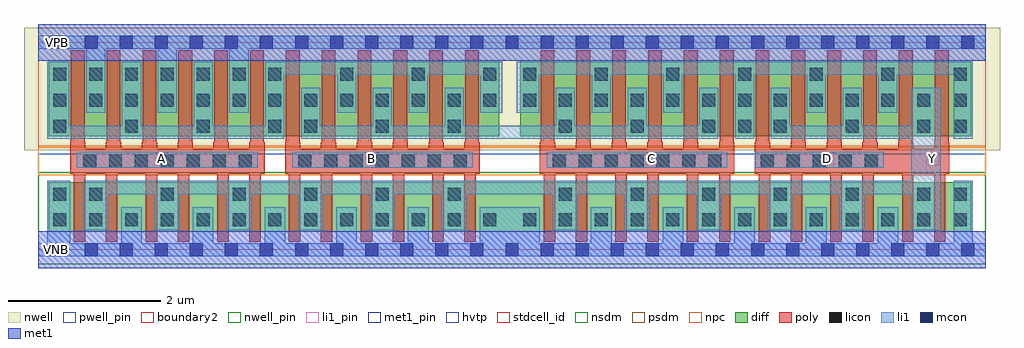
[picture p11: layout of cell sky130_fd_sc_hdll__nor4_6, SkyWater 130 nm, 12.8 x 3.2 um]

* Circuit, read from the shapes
.subckt sky130_fd_sc_hdll__nor4_6 A B C D VGND VNB VPB VPWR Y
XM1 Y A VGND VNB sky130_fd_pr__nfet_01v8 w=0.65 l=0.15 m=6
XM2 Y B VGND VNB sky130_fd_pr__nfet_01v8 w=0.65 l=0.15 m=6
XM3 Y C VGND VNB sky130_fd_pr__nfet_01v8 w=0.65 l=0.15 m=6
XM4 Y D VGND VNB sky130_fd_pr__nfet_01v8 w=0.65 l=0.15 m=6
XM5 VPWR A n1 VPB sky130_fd_pr__pfet_01v8_hvt w=1 l=0.18 m=6
XM6 n2 B n1 VPB sky130_fd_pr__pfet_01v8_hvt w=1 l=0.18 m=6
XM7 n2 C n3 VPB sky130_fd_pr__pfet_01v8_hvt w=1 l=0.18 m=6
XM8 Y D n3 VPB sky130_fd_pr__pfet_01v8_hvt w=1 l=0.18 m=6
.ends

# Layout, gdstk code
import gdstk
lib = gdstk.Library(unit=1e-6, precision=1e-09)
def R(c, l, rs):  # rectangles x0, y0, x1, y1
    for r in rs: c.add(gdstk.rectangle(r[:2], r[2:], *l))
def A(c, l, x, y, w, h, nx, ny, dx, dy):  # array of equal rectangles
    R(c, l, [(x+i*dx, y+j*dy, x+i*dx+w, y+j*dy+h) for i in range(nx) for j in range(ny)])
def P(c, l, *ps):  # polygons
    for p in ps: c.add(gdstk.Polygon(p, *l))
nwell_pin = (64, 16)
nwell = (64, 20)
diff = (65, 20)
poly = (66, 20)
licon = (66, 44)
li1_pin = (67, 16)
li1 = (67, 20)
mcon = (67, 44)
met1_pin = (68, 16)
met1 = (68, 20)
hvtp = (78, 44)
stdcell_id = (81, 4)
nsdm = (93, 44)
psdm = (94, 20)
npc = (95, 20)
pwell_pin = (122, 16)
boundary2 = (236, 0)

sky130_fd_sc_hdll__nor4_ = lib.new_cell('sky130_fd_sc_hdll__nor4_6')
R(sky130_fd_sc_hdll__nor4_, nwell_pin, [(0.15,2.635,0.32,2.805)])
R(sky130_fd_sc_hdll__nor4_, nwell, [(-0.19,1.305,12.61,2.91)])
R(sky130_fd_sc_hdll__nor4_, diff, [(0.135,0.235,12.235,0.885), (0.135,1.485,6.045,2.485), (6.315,1.485,12.235,2.485)])
P(sky130_fd_sc_hdll__nor4_, poly, [(5.785,1.41),(5.775,1.41),(5.775,2.615),(5.595,2.615),(5.595,1.41),(5.585,1.41),(5.585,1.325),(5.315,1.325),(5.315,1.41),(5.305,1.41),(5.305,2.615),(5.125,2.615),(5.125,1.41),(5.115,1.41),(5.115,1.325),(4.845,1.325),(4.845,1.41),(4.835,1.41),(4.835,2.615),(4.655,2.615),(4.655,1.41),(4.645,1.41),(4.645,1.325),(4.375,1.325),(4.375,1.41),(4.365,1.41),(4.365,2.615),(4.185,2.615),(4.185,1.41),(4.175,1.41),(4.175,1.325),(3.905,1.325),(3.905,1.41),(3.895,1.41),(3.895,2.615),(3.715,2.615),(3.715,1.41),(3.705,1.41),(3.705,1.325),(3.435,1.325),(3.435,1.41),(3.425,1.41),(3.425,2.615),(3.245,2.615),(3.245,1.41),(3.235,1.41),(3.235,0.995),(3.285,0.995),(3.285,0.105),(3.435,0.105),(3.435,0.995),(3.705,0.995),(3.705,0.105),(3.855,0.105),(3.855,0.995),(4.225,0.995),(4.225,0.105),(4.375,0.105),(4.375,0.995),(4.645,0.995),(4.645,0.105),(4.795,0.105),(4.795,0.995),(5.165,0.995),(5.165,0.105),(5.315,0.105),(5.315,0.995),(5.585,0.995),(5.585,0.105),(5.735,0.105),(5.735,0.995),(5.785,0.995)],
  [(11.945,1.41),(11.935,1.41),(11.935,2.615),(11.755,2.615),(11.755,1.41),(11.745,1.41),(11.745,1.325),(11.475,1.325),(11.475,1.41),(11.465,1.41),(11.465,2.615),(11.285,2.615),(11.285,1.41),(11.275,1.41),(11.275,1.325),(11.005,1.325),(11.005,1.41),(10.995,1.41),(10.995,2.615),(10.815,2.615),(10.815,1.41),(10.805,1.41),(10.805,1.325),(10.535,1.325),(10.535,1.41),(10.525,1.41),(10.525,2.615),(10.345,2.615),(10.345,1.41),(10.335,1.41),(10.335,1.325),(10.065,1.325),(10.065,1.41),(10.055,1.41),(10.055,2.615),(9.875,2.615),(9.875,1.41),(9.865,1.41),(9.865,1.325),(9.595,1.325),(9.595,1.41),(9.585,1.41),(9.585,2.615),(9.405,2.615),(9.405,1.41),(9.395,1.41),(9.395,0.995),(9.445,0.995),(9.445,0.105),(9.595,0.105),(9.595,0.995),(9.865,0.995),(9.865,0.105),(10.015,0.105),(10.015,0.995),(10.385,0.995),(10.385,0.105),(10.535,0.105),(10.535,0.995),(10.805,0.995),(10.805,0.105),(10.955,0.105),(10.955,0.995),(11.325,0.995),(11.325,0.105),(11.475,0.105),(11.475,0.995),(11.745,0.995),(11.745,0.105),(11.895,0.105),(11.895,0.995),(11.945,0.995)],
  [(9.125,1.41),(9.115,1.41),(9.115,2.615),(8.935,2.615),(8.935,1.41),(8.925,1.41),(8.925,1.325),(8.655,1.325),(8.655,1.41),(8.645,1.41),(8.645,2.615),(8.465,2.615),(8.465,1.41),(8.455,1.41),(8.455,1.325),(8.185,1.325),(8.185,1.41),(8.175,1.41),(8.175,2.615),(7.995,2.615),(7.995,1.41),(7.985,1.41),(7.985,1.325),(7.715,1.325),(7.715,1.41),(7.705,1.41),(7.705,2.615),(7.525,2.615),(7.525,1.41),(7.515,1.41),(7.515,1.325),(7.245,1.325),(7.245,1.41),(7.235,1.41),(7.235,2.615),(7.055,2.615),(7.055,1.41),(7.045,1.41),(7.045,1.325),(6.775,1.325),(6.775,1.41),(6.765,1.41),(6.765,2.615),(6.585,2.615),(6.585,1.41),(6.575,1.41),(6.575,0.995),(6.625,0.995),(6.625,0.105),(6.775,0.105),(6.775,0.995),(7.045,0.995),(7.045,0.105),(7.195,0.105),(7.195,0.995),(7.565,0.995),(7.565,0.105),(7.715,0.105),(7.715,0.995),(7.985,0.995),(7.985,0.105),(8.135,0.105),(8.135,0.995),(8.505,0.995),(8.505,0.105),(8.655,0.105),(8.655,0.995),(8.925,0.995),(8.925,0.105),(9.075,0.105),(9.075,0.995),(9.125,0.995)],
  [(2.965,1.41),(2.955,1.41),(2.955,2.615),(2.775,2.615),(2.775,1.41),(2.765,1.41),(2.765,1.325),(2.495,1.325),(2.495,1.41),(2.485,1.41),(2.485,2.615),(2.305,2.615),(2.305,1.41),(2.295,1.41),(2.295,1.325),(2.025,1.325),(2.025,1.41),(2.015,1.41),(2.015,2.615),(1.835,2.615),(1.835,1.41),(1.825,1.41),(1.825,1.325),(1.555,1.325),(1.555,1.41),(1.545,1.41),(1.545,2.615),(1.365,2.615),(1.365,1.41),(1.355,1.41),(1.355,1.325),(1.085,1.325),(1.085,1.41),(1.075,1.41),(1.075,2.615),(0.895,2.615),(0.895,1.41),(0.885,1.41),(0.885,1.325),(0.615,1.325),(0.615,1.41),(0.605,1.41),(0.605,2.615),(0.425,2.615),(0.425,1.41),(0.415,1.41),(0.415,0.995),(0.465,0.995),(0.465,0.105),(0.615,0.105),(0.615,0.995),(0.885,0.995),(0.885,0.105),(1.035,0.105),(1.035,0.995),(1.405,0.995),(1.405,0.105),(1.555,0.105),(1.555,0.995),(1.825,0.995),(1.825,0.105),(1.975,0.105),(1.975,0.995),(2.345,0.995),(2.345,0.105),(2.495,0.105),(2.495,0.995),(2.765,0.995),(2.765,0.105),(2.915,0.105),(2.915,0.995),(2.965,0.995)])
A(sky130_fd_sc_hdll__nor4_, licon, 0.195, 0.305, 0.17, 0.17, 13, 2, 0.47, 1.57)
A(sky130_fd_sc_hdll__nor4_, licon, 6.355, 0.305, 0.17, 0.17, 12, 2, 0.47, 1.57)
A(sky130_fd_sc_hdll__nor4_, licon, 0.665, 0.645, 0.17, 0.17, 6, 1, 0.94, 0)
A(sky130_fd_sc_hdll__nor4_, licon, 6.825, 0.645, 0.17, 0.17, 6, 1, 0.94, 0)
A(sky130_fd_sc_hdll__nor4_, licon, 0.585, 1.075, 0.17, 0.17, 7, 1, 0.34, 0)
A(sky130_fd_sc_hdll__nor4_, licon, 3.405, 1.075, 0.17, 0.17, 7, 1, 0.34, 0)
A(sky130_fd_sc_hdll__nor4_, licon, 6.745, 1.075, 0.17, 0.17, 7, 1, 0.34, 0)
A(sky130_fd_sc_hdll__nor4_, licon, 9.475, 1.075, 0.17, 0.17, 5, 1, 0.34, 0)
A(sky130_fd_sc_hdll__nor4_, licon, 0.195, 1.535, 0.17, 0.17, 4, 1, 0.94, 0)
A(sky130_fd_sc_hdll__nor4_, licon, 3.485, 1.535, 0.17, 0.17, 3, 1, 0.94, 0)
A(sky130_fd_sc_hdll__nor4_, licon, 6.825, 1.535, 0.17, 0.17, 3, 1, 0.94, 0)
A(sky130_fd_sc_hdll__nor4_, licon, 9.645, 1.535, 0.17, 0.17, 3, 1, 0.94, 0)
A(sky130_fd_sc_hdll__nor4_, licon, 12.005, 1.535, 0.17, 0.17, 1, 3, 0, 0.34)
A(sky130_fd_sc_hdll__nor4_, licon, 0.195, 2.215, 0.17, 0.17, 7, 1, 0.47, 0)
A(sky130_fd_sc_hdll__nor4_, licon, 3.955, 2.215, 0.17, 0.17, 3, 1, 0.94, 0)
A(sky130_fd_sc_hdll__nor4_, licon, 6.355, 2.215, 0.17, 0.17, 6, 1, 0.94, 0)
R(sky130_fd_sc_hdll__nor4_, licon, [(12.005,0.305,12.175,0.475), (0.195,0.645,0.365,0.815), (12.005,0.645,12.175,0.815), (9.175,1.535,9.345,1.705)])
R(sky130_fd_sc_hdll__nor4_, li1_pin, [(1.525,1.105,1.695,1.275), (4.285,1.105,4.455,1.275), (7.965,1.105,8.135,1.275), (10.265,1.105,10.435,1.275), (11.645,1.105,11.815,1.275)])
R(sky130_fd_sc_hdll__nor4_, li1, [(0.505,1.075,2.875,1.285), (3.325,1.075,5.695,1.285), (6.665,1.075,9.035,1.285), (9.395,1.075,11.085,1.285)])
P(sky130_fd_sc_hdll__nor4_, li1, [(6.085,2.465),(2.975,2.465),(2.975,1.625),(2.285,1.625),(2.285,2.465),(2.035,2.465),(2.035,1.625),(1.345,1.625),(1.345,2.465),(1.095,2.465),(1.095,1.625),(0.405,1.625),(0.405,2.465),(0.115,2.465),(0.115,1.455),(3.225,1.455),(3.225,2.295),(3.915,2.295),(3.915,1.795),(4.165,1.795),(4.165,2.295),(4.855,2.295),(4.855,1.795),(5.105,1.795),(5.105,2.295),(5.795,2.295),(5.795,1.795),(6.085,1.795)],
  [(12.42,0.085),(12.255,0.085),(12.255,0.905),(12.005,0.905),(12.005,0.085),(11.275,0.085),(11.275,0.555),(11.005,0.555),(11.005,0.085),(10.335,0.085),(10.335,0.555),(10.065,0.555),(10.065,0.085),(9.395,0.085),(9.395,0.555),(9.125,0.555),(9.125,0.085),(8.455,0.085),(8.455,0.555),(8.185,0.555),(8.185,0.085),(7.515,0.085),(7.515,0.555),(7.245,0.555),(7.245,0.085),(6.575,0.085),(6.575,0.555),(5.785,0.555),(5.785,0.085),(5.115,0.085),(5.115,0.555),(4.845,0.555),(4.845,0.085),(4.175,0.085),(4.175,0.555),(3.905,0.555),(3.905,0.085),(3.235,0.085),(3.235,0.555),(2.965,0.555),(2.965,0.085),(2.295,0.085),(2.295,0.555),(2.025,0.555),(2.025,0.085),(1.355,0.085),(1.355,0.555),(1.085,0.555),(1.085,0.085),(0.415,0.085),(0.415,0.905),(0.115,0.905),(0.115,0.085),(0,0.085),(0,-0.085),(12.42,-0.085)],
  [(11.835,2.125),(11.445,2.125),(11.445,1.625),(10.795,1.625),(10.795,2.125),(10.545,2.125),(10.545,1.625),(9.855,1.625),(9.855,2.125),(9.605,2.125),(9.605,1.455),(11.445,1.455),(11.445,0.905),(0.585,0.905),(0.585,0.255),(0.915,0.255),(0.915,0.725),(1.525,0.725),(1.525,0.255),(1.855,0.255),(1.855,0.725),(2.465,0.725),(2.465,0.255),(2.795,0.255),(2.795,0.725),(3.405,0.725),(3.405,0.255),(3.735,0.255),(3.735,0.725),(4.345,0.725),(4.345,0.255),(4.675,0.255),(4.675,0.725),(5.285,0.725),(5.285,0.255),(5.615,0.255),(5.615,0.725),(6.745,0.725),(6.745,0.255),(7.075,0.255),(7.075,0.725),(7.685,0.725),(7.685,0.255),(8.015,0.255),(8.015,0.725),(8.625,0.725),(8.625,0.255),(8.955,0.255),(8.955,0.725),(9.565,0.725),(9.565,0.255),(9.895,0.255),(9.895,0.725),(10.505,0.725),(10.505,0.255),(10.835,0.255),(10.835,0.725),(11.445,0.725),(11.445,0.255),(11.835,0.255)],
  [(8.915,2.125),(8.665,2.125),(8.665,1.625),(7.975,1.625),(7.975,2.125),(7.725,2.125),(7.725,1.625),(7.035,1.625),(7.035,2.125),(6.785,2.125),(6.785,1.625),(5.575,1.625),(5.575,2.125),(5.325,2.125),(5.325,1.625),(4.635,1.625),(4.635,2.125),(4.385,2.125),(4.385,1.625),(3.695,1.625),(3.695,2.125),(3.445,2.125),(3.445,1.455),(8.915,1.455)],
  [(12.255,2.465),(6.275,2.465),(6.275,1.795),(6.565,1.795),(6.565,2.295),(7.255,2.295),(7.255,1.795),(7.505,1.795),(7.505,2.295),(8.195,2.295),(8.195,1.795),(8.445,1.795),(8.445,2.295),(9.135,2.295),(9.135,1.455),(9.385,1.455),(9.385,2.295),(10.075,2.295),(10.075,1.795),(10.325,1.795),(10.325,2.295),(11.015,2.295),(11.015,1.795),(11.265,1.795),(11.265,2.295),(12.005,2.295),(12.005,1.455),(12.255,1.455)],
  [(12.42,2.805),(0,2.805),(0,2.635),(0.625,2.635),(0.625,1.795),(0.875,1.795),(0.875,2.635),(1.565,2.635),(1.565,1.795),(1.815,1.795),(1.815,2.635),(2.505,2.635),(2.505,1.795),(2.755,1.795),(2.755,2.635),(12.42,2.635)])
A(sky130_fd_sc_hdll__nor4_, mcon, 0.145, -0.085, 0.17, 0.17, 27, 2, 0.46, 2.72)
R(sky130_fd_sc_hdll__nor4_, met1_pin, [(0.15,-0.085,0.32,0.085), (0.15,2.635,0.32,2.805)])
R(sky130_fd_sc_hdll__nor4_, met1, [(0,-0.24,12.42,0.24), (0,2.48,12.42,2.96)])
R(sky130_fd_sc_hdll__nor4_, hvtp, [(0,1.25,12.42,2.72)])
R(sky130_fd_sc_hdll__nor4_, stdcell_id, [(0,0,12.42,2.72)])
R(sky130_fd_sc_hdll__nor4_, nsdm, [(0,-0.19,12.42,1.015)])
R(sky130_fd_sc_hdll__nor4_, psdm, [(0,1.355,12.42,2.91)])
R(sky130_fd_sc_hdll__nor4_, npc, [(0,0.975,12.42,1.345)])
R(sky130_fd_sc_hdll__nor4_, pwell_pin, [(0.15,-0.085,0.32,0.085)])
R(sky130_fd_sc_hdll__nor4_, boundary2, [(0,0,12.42,2.72)])
sky130_fd_sc_hdll__nor4_.add(gdstk.Label('A', (1.61,1.19), layer=67, texttype=5))
sky130_fd_sc_hdll__nor4_.add(gdstk.Label('C', (8.045,1.19), layer=67, texttype=5))
sky130_fd_sc_hdll__nor4_.add(gdstk.Label('D', (10.35,1.19), layer=67, texttype=5))
sky130_fd_sc_hdll__nor4_.add(gdstk.Label('B', (4.37,1.19), layer=67, texttype=5))
sky130_fd_sc_hdll__nor4_.add(gdstk.Label('Y', (11.73,1.19), layer=67, texttype=5))
sky130_fd_sc_hdll__nor4_.add(gdstk.Label('VPB', (0.25,2.72), layer=64, texttype=5))
sky130_fd_sc_hdll__nor4_.add(gdstk.Label('VNB', (0.235,0), layer=64, texttype=59))
sky130_fd_sc_hdll__nor4_.add(gdstk.Label('VGND', (0.235,0), layer=68, texttype=5))
sky130_fd_sc_hdll__nor4_.add(gdstk.Label('VPWR', (0.25,2.72), layer=68, texttype=5))
sky130_fd_sc_hdll__nor4_.add(gdstk.Label('nor4_6', (0,0), layer=83, texttype=44))

lib.write_gds('sky130_fd_sc_hdll__nor4_6.gds')
